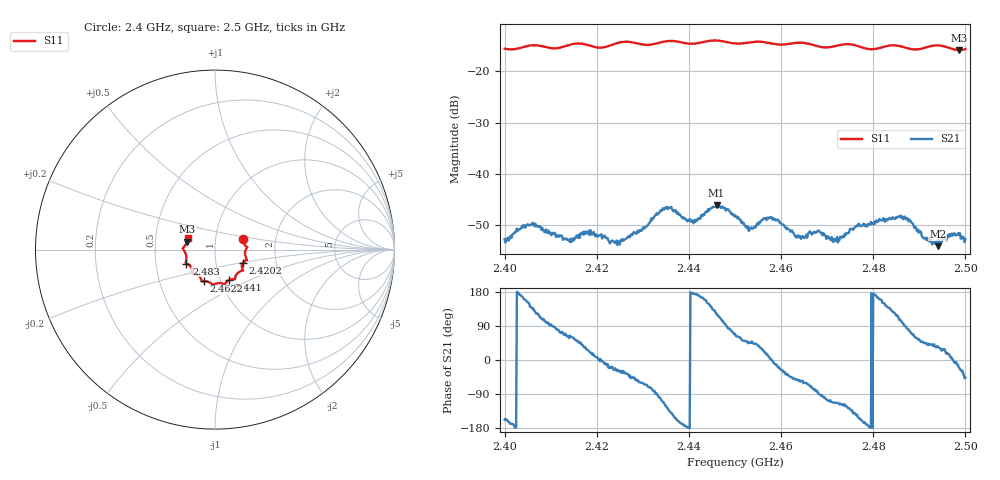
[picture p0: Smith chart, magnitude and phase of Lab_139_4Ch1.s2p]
# Hz S RI R 50
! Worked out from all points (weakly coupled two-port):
!   601 points, 2.4 GHz to 2.5 GHz, reference 50 ohm
!   highest |S21| = -46.14 dB at 2.446 GHz (marker M1); lowest = -54.2 dB at 2.494 GHz (marker M2)
!   lowest |S11| = -15.8 dB at 2.4987 GHz (marker M3), VSWR 1.39, Z = 36.4 + j3.32 ohm
!   |S11| at or under -10 dB: start of sweep to end of sweep
!   S12 and S22 are empty: the file has one direction only
!   S11 on the Smith chart (normalised r, x): 2.4 GHz: 1.36, +0.17; 2.4202 GHz: 1.35, -0.20; 2.441 GHz: 1.09, -0.39; 2.4622 GHz: 0.83, -0.30; 2.483 GHz: 0.72, -0.12; 2.5 GHz: 0.73, +0.09
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2.4e9  0.156 0.0599  -0.00212 -0.00089  0 0  0 0
2.405833e9  0.1792 0.0139  -0.00236 0.00208  0 0  0 0
2.414e9  0.1747 -0.0499  0.00119 0.00188  0 0  0 0
2.416667e9  0.1777 -0.0582  0.00195 0.00168  0 0  0 0
2.420167e9  0.1558 -0.072  0.0024 0.00029  0 0  0 0
2.425e9  0.156 -0.1128  0.00172 -0.00108  0 0  0 0
2.433333e9  0.1128 -0.1525  -0.000385 -0.00406  0 0  0 0
2.435667e9  0.1113 -0.1645  -0.00313 -0.00338  0 0  0 0
2.441e9  0.0766 -0.1704  -0.00327 0.000221  0 0  0 0
2.446e9  0.0518 -0.1939  -0.00263 0.00417  0 0  0 0
2.45e9  0.0263 -0.186  0.00141 0.00366  0 0  0 0
2.452833e9  0.000578 -0.1914  0.00218 0.00213  0 0  0 0
2.4575e9  -0.0214 -0.1883  0.00372 0.000451  0 0  0 0
2.462167e9  -0.0635 -0.1764  0.00194 -0.00193  0 0  0 0
2.466667e9  -0.0765 -0.1668  0.000723 -0.00244  0 0  0 0
2.472167e9  -0.1161 -0.1362  -0.000954 -0.0022  0 0  0 0
2.483e9  -0.1594 -0.0781  -0.00277 0.00231  0 0  0 0
2.483333e9  -0.1609 -0.0773  -0.00262 0.00241  0 0  0 0
2.487333e9  -0.1598 -0.0558  0.000457 0.00366  0 0  0 0
2.494e9  -0.1797 0.0069  0.00159 0.00114  0 0  0 0
2.498667e9  -0.1555 0.0444  0.00236 -0.000894  0 0  0 0
2.5e9  -0.1528 0.063  0.00157 -0.00166  0 0  0 0
